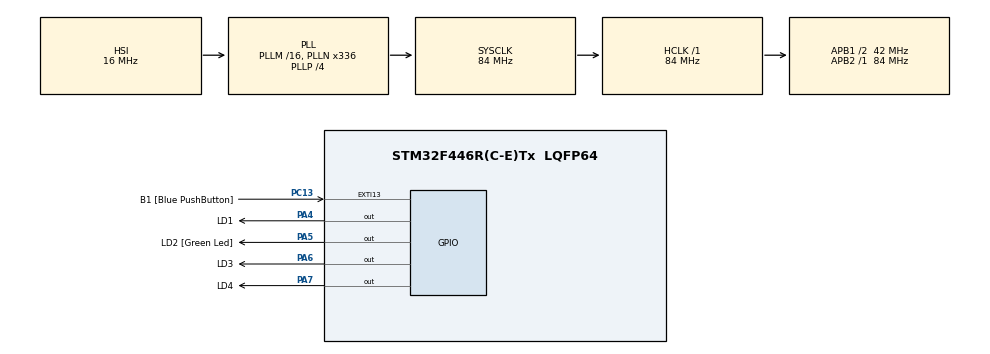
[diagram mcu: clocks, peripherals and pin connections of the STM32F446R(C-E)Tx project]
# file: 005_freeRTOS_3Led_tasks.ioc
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Mcu.Family=STM32F4
Mcu.Name=STM32F446R(C-E)Tx
Mcu.Package=LQFP64
NVIC.PriorityGroup=NVIC_PRIORITYGROUP_4
NVIC.TIM6_DAC_IRQn=true\:0\:0\:false\:false\:true\:false\:true\:true
NVIC.TimeBase=TIM6_DAC_IRQn
NVIC.TimeBaseIP=TIM6
PA13.GPIO_Label=TMS
PA13.Signal=SYS_JTMS-SWDIO
PA14.GPIO_Label=TCK
PA14.Signal=SYS_JTCK-SWCLK
PA2.GPIO_Label=USART_TX
PA2.Signal=USART2_TX
PA3.GPIO_Label=USART_RX
PA3.Signal=USART2_RX
PA4.GPIO_Label=LD1
PA4.Signal=GPIO_Output
PA5.GPIO_Label=LD2 [Green Led]
PA5.Signal=GPIO_Output
PA6.GPIO_Label=LD3
PA6.Signal=GPIO_Output
PA7.GPIO_Label=LD4
PA7.Signal=GPIO_Output
PB3.GPIO_Label=SWO
PB3.Signal=SYS_JTDO-SWO
PC13.GPIO_Label=B1 [Blue PushButton]
PC13.GPIO_ModeDefaultEXTI=GPIO_MODE_IT_FALLING
PC13.Signal=GPXTI13
PC14-OSC32_IN.Signal=RCC_OSC32_IN
PC15-OSC32_OUT.Signal=RCC_OSC32_OUT
PH0-OSC_IN.Signal=RCC_OSC_IN
PH1-OSC_OUT.Signal=RCC_OSC_OUT
ProjectManager.HeapSize=0x200
ProjectManager.StackSize=0x400
ProjectManager.TargetToolchain=STM32CubeIDE
RCC.AHBFreq_Value=84000000
RCC.APB1CLKDivider=RCC_HCLK_DIV2
RCC.APB1Freq_Value=42000000
RCC.APB1TimFreq_Value=84000000
RCC.APB2Freq_Value=84000000
RCC.APB2TimFreq_Value=84000000
RCC.CortexFreq_Value=84000000
RCC.FLatency-AdvancedSettings=FLASH_LATENCY_2
RCC.HCLKFreq_Value=84000000
RCC.HSE_VALUE=8000000
RCC.HSI_VALUE=16000000
RCC.LSE_VALUE=32768
RCC.PLLN=336
RCC.PLLP=RCC_PLLP_DIV4
RCC.SYSCLKFreq_VALUE=84000000
RCC.SYSCLKSource=RCC_SYSCLKSOURCE_PLLCLK
RCC.USBFreq_Value=168000000
RCC.VCOOutputFreq_Value=336000000
VP_SYS_VS_tim6.Mode=TIM6
board=NUCLEO-F446RE

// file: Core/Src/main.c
/* USER CODE BEGIN Header */
/**
  ******************************************************************************
  * @file           : main.c
  * @brief          : Main program body
  ******************************************************************************
  * @attention
  *
  * Copyright (c) 2025 STMicroelectronics.
  * All rights reserved.
  *
  * This software is licensed under terms that can be found in the LICENSE file
  * in the root directory of this software component.
  * If no LICENSE file comes with this software, it is provided AS-IS.
  *
  ******************************************************************************
  */
/* USER CODE END Header */
#include "main.h"

/* USER CODE BEGIN Includes */
#include <stdio.h>
#include "FreeRTOS.h"
#include "task.h"
/* USER CODE END Includes */

void SystemClock_Config(void);
static void MX_GPIO_Init(void);
/* USER CODE BEGIN PFP */
static void led1_task1_handler(void *Parameters);
static void led2_task2_handler(void *Parameters);
static void led3_task3_handler(void *Parameters);
static void button_task4_handler(void *Parameters);

TaskHandle_t led1_task1_handle;
TaskHandle_t led2_task2_handle;
TaskHandle_t led3_task3_handle;
TaskHandle_t button_task4_handle;

TaskHandle_t volatile next_task_handle= NULL;

/* USER CODE END PFP */

int main(void)
{

  /* USER CODE BEGIN 1 */
	BaseType_t status;
  /* USER CODE END 1 */

  /* MCU Configuration--------------------------------------------------------*/

  /* Reset of all peripherals, Initializes the Flash interface and the Systick. */
  HAL_Init();

  /* USER CODE BEGIN Init */
b
  /* USER CODE END Init */

  /* Configure the system clock */
  SystemClock_Config();

  /* Initialize all configured peripherals */
  MX_GPIO_Init();
  /* USER CODE BEGIN 2 */

	printf("\r\n=== SYSTEM STARTING ===\r\n");

	status = xTaskCreate(led1_task1_handler, "Task-1", 200, NULL, 1, &led1_task1_handle);
	configASSERT(status == pdPASS);
	printf("LED1 Task created, handle: %p\r\n", led1_task1_handle);

	next_task_handle = led1_task1_handle;
	printf("next_task_handle initialized to: %p\r\n", next_task_handle);

	status = xTaskCreate(led2_task2_handler, "Task-2", 200, NULL, 2, &led2_task2_handle);
	configASSERT(status == pdPASS);
	printf("LED2 Task created, handle: %p\r\n", led2_task2_handle);

	status = xTaskCreate(led3_task3_handler, "Task-3", 200, NULL, 3, &led3_task3_handle);
	configASSERT(status == pdPASS);
	printf("LED3 Task created, handle: %p\r\n", led3_task3_handle);

	status = xTaskCreate(button_task4_handler, "Button Task-4", 200, NULL, 4, &button_task4_handle);
	configASSERT(status == pdPASS);
	printf("Button Task created, handle: %p\r\n", button_task4_handle);

	printf("All tasks created successfully\r\n");
	printf("Starting FreeRTOS scheduler...\r\n");

	// start FreeRTOS scheduler
	vTaskStartScheduler();
  /* USER CODE END 2 */

  /* Infinite loop */
  while (1)
  {

  }
}

void SystemClock_Config(void)
{
  RCC_OscInitTypeDef RCC_OscInitStruct = {0};
  RCC_ClkInitTypeDef RCC_ClkInitStruct = {0};

  /** Configure the main internal regulator output voltage
  */
  __HAL_RCC_PWR_CLK_ENABLE();
  __HAL_PWR_VOLTAGESCALING_CONFIG(PWR_REGULATOR_VOLTAGE_SCALE3);

  /** Initializes the RCC Oscillators according to the specified parameters
  * in the RCC_OscInitTypeDef structure.
  */
  RCC_OscInitStruct.OscillatorType = RCC_OSCILLATORTYPE_HSI;
  RCC_OscInitStruct.HSIState = RCC_HSI_ON;
  RCC_OscInitStruct.HSICalibrationValue = RCC_HSICALIBRATION_DEFAULT;
  RCC_OscInitStruct.PLL.PLLState = RCC_PLL_ON;
  RCC_OscInitStruct.PLL.PLLSource = RCC_PLLSOURCE_HSI;
  RCC_OscInitStruct.PLL.PLLM = 16;
  RCC_OscInitStruct.PLL.PLLN = 336;
  RCC_OscInitStruct.PLL.PLLP = RCC_PLLP_DIV4;
  RCC_OscInitStruct.PLL.PLLQ = 2;
  RCC_OscInitStruct.PLL.PLLR = 2;
  if (HAL_RCC_OscConfig(&RCC_OscInitStruct) != HAL_OK)
  {
    Error_Handler();
  }

  /** Initializes the CPU, AHB and APB buses clocks
  */
  RCC_ClkInitStruct.ClockType = RCC_CLOCKTYPE_HCLK|RCC_CLOCKTYPE_SYSCLK
                              |RCC_CLOCKTYPE_PCLK1|RCC_CLOCKTYPE_PCLK2;
  RCC_ClkInitStruct.SYSCLKSource = RCC_SYSCLKSOURCE_PLLCLK;
  RCC_ClkInitStruct.AHBCLKDivider = RCC_SYSCLK_DIV1;
  RCC_ClkInitStruct.APB1CLKDivider = RCC_HCLK_DIV2;
  RCC_ClkInitStruct.APB2CLKDivider = RCC_HCLK_DIV1;

  if (HAL_RCC_ClockConfig(&RCC_ClkInitStruct, FLASH_LATENCY_2) != HAL_OK)
  {
    Error_Handler();
  }
}

static void MX_GPIO_Init(void)
{
  GPIO_InitTypeDef GPIO_InitStruct = {0};

  /* GPIO Ports Clock Enable */
  __HAL_RCC_GPIOC_CLK_ENABLE();
  __HAL_RCC_GPIOH_CLK_ENABLE();
  __HAL_RCC_GPIOA_CLK_ENABLE();
  __HAL_RCC_GPIOB_CLK_ENABLE();

  /*Configure GPIO pin Output Level */
  HAL_GPIO_WritePin(GPIOA, LD1_Pin|LD2_Pin|LD3_Pin|LD4_Pin, GPIO_PIN_RESET);

  /*Configure GPIO pin : B1_Pin */
  GPIO_InitStruct.Pin = B1_Pin;
  GPIO_InitStruct.Mode = GPIO_MODE_INPUT;  /* Changed to INPUT for polling */
  GPIO_InitStruct.Pull = GPIO_PULLUP;      /* Added pull-up resistor */
  HAL_GPIO_Init(B1_GPIO_Port, &GPIO_InitStruct);

  /*Configure GPIO pins : USART_TX_Pin USART_RX_Pin */
  GPIO_InitStruct.Pin = USART_TX_Pin|USART_RX_Pin;
  GPIO_InitStruct.Mode = GPIO_MODE_AF_PP;
  GPIO_InitStruct.Pull = GPIO_NOPULL;
  GPIO_InitStruct.Speed = GPIO_SPEED_FREQ_VERY_HIGH;
  GPIO_InitStruct.Alternate = GPIO_AF7_USART2;
  HAL_GPIO_Init(GPIOA, &GPIO_InitStruct);

  /*Configure GPIO pins : LD1_Pin LD2_Pin LD3_Pin LD4_Pin */
  GPIO_InitStruct.Pin = LD1_Pin|LD2_Pin|LD3_Pin|LD4_Pin;
  GPIO_InitStruct.Mode = GPIO_MODE_OUTPUT_PP;
  GPIO_InitStruct.Pull = GPIO_NOPULL;
  GPIO_InitStruct.Speed = GPIO_SPEED_FREQ_LOW;
  HAL_GPIO_Init(GPIOA, &GPIO_InitStruct);

}

/* USER CODE BEGIN 4 */
static void led1_task1_handler(void *Parameters)
{
    BaseType_t status;
    printf("=== LED1 Task Started ===\r\n");

    while(1)
    {
        printf("LED1: Toggling led1 (PA5)\r\n");
        HAL_GPIO_TogglePin(GPIOA, GPIO_PIN_5);

        printf("LED1: Waiting for notification (timeout: 2000ms)...\r\n");
        status = xTaskNotifyWait(0, 0, NULL, pdMS_TO_TICKS(2000));

        if(status == pdTRUE)
        {
            printf("LED1: *** NOTIFICATION RECEIVED! ***\r\n");
            vTaskSuspendAll();
            next_task_handle = led2_task2_handle;
            printf("LED1: next_task_handle changed to LED2: %p\r\n", next_task_handle);
            xTaskResumeAll();
            HAL_GPIO_WritePin(GPIOA, GPIO_PIN_5, GPIO_PIN_RESET);
            printf("LED1: LED turned OFF, deleting task1\r\n");
            vTaskDelete(NULL);
        }
        else
        {
            printf("LED1: Timeout - no notification received\r\n");
        }
    }
}

static void led2_task2_handler(void *Parameters)
{
    BaseType_t status;
    printf("=== LED2 Task Started ===\r\n");

    while(1)
    {
        printf("LED2: Toggling led2 (PA6)\r\n");
        HAL_GPIO_TogglePin(GPIOA, GPIO_PIN_6);

        printf("LED2: Waiting for notification (timeout: 1500ms)...\r\n");
        status = xTaskNotifyWait(0, 0, NULL, pdMS_TO_TICKS(1500));

        if(status == pdTRUE)
        {
            printf("LED2: *** NOTIFICATION RECEIVED! ***\r\n");
            vTaskSuspendAll();
            next_task_handle = led3_task3_handle;
            printf("LED2: next_task_handle changed to LED3: %p\r\n", next_task_handle);
            xTaskResumeAll();
            HAL_GPIO_WritePin(GPIOA, GPIO_PIN_6, GPIO_PIN_RESET);
            printf("LED2: LED turned OFF, deleting task2\r\n");
            vTaskDelete(NULL);
        }
        else
        {
            printf("LED2: Timeout - no notification received\r\n");
        }
    }
}

static void led3_task3_handler(void *Parameters)
{
    BaseType_t status;
    printf("=== LED3 Task Started ===\r\n");

    while(1)
    {
        printf("LED3: Toggling led3 (PA4)\r\n");
        HAL_GPIO_TogglePin(GPIOA, GPIO_PIN_4);

        printf("LED3: Waiting for notification (timeout: 1000ms)...\r\n");
        status = xTaskNotifyWait(0, 0, NULL, pdMS_TO_TICKS(1000));

        if(status == pdTRUE)
        {
            printf("LED3: *** NOTIFICATION RECEIVED! ***\r\n");
            vTaskSuspendAll();
            next_task_handle = NULL;
            printf("LED3: next_task_handle set to NULL\r\n");
            xTaskResumeAll();
            HAL_GPIO_WritePin(GPIOA, GPIO_PIN_4, GPIO_PIN_RESET);
            printf("LED3: LED turned OFF\r\n");
            printf("LED3: Deleting button task (%p)\r\n", button_task4_handle);
            vTaskDelete(button_task4_handle);
            printf("LED3: Deleting LED3 task (self)\r\n");
            vTaskDelete(NULL);
        }
        else
        {
            printf("LED3: Timeout - no notification received\r\n");
        }
    }
}

static void button_task4_handler(void *Parameters)
{
    uint8_t btn_read = 0;
    uint8_t prev_read = 0;
    static uint32_t button_press_count = 0;
    static uint32_t debug_counter = 0;

    printf("=== BUTTON Task Started ===\r\n");
    printf("BUTTON: Current next_task_handle: %p\r\n", next_task_handle);

    // Print pin definitions for debugging
    printf("BUTTON: B1_Pin = 0x%04X, B1_GPIO_Port = %p\r\n", (uint16_t)B1_Pin, B1_GPIO_Port);

    // Initialize previous state - USING CORRECT PIN!
    prev_read = HAL_GPIO_ReadPin(B1_GPIO_Port, B1_Pin);
    printf("BUTTON: Initial button state (B1_Pin): %d\r\n", prev_read);

    // Also check PA0 for comparison
    uint8_t pa0_state = HAL_GPIO_ReadPin(GPIOA, GPIO_PIN_0);
    printf("BUTTON: Initial PA0 state: %d\r\n", pa0_state);

    while(1)
    {
        // Read the CORRECT button pin - B1_Pin, not GPIO_PIN_0!
        btn_read = HAL_GPIO_ReadPin(B1_GPIO_Port, B1_Pin);

        debug_counter++;

        // Print button state every 100 cycles for debugging
        if(debug_counter % 100 == 0)
        {
            printf("BUTTON: Debug #%lu - B1_Pin: %d, PA0: %d, next_task: %p\r\n",
                   debug_counter/100, btn_read, HAL_GPIO_ReadPin(GPIOA, GPIO_PIN_0), next_task_handle);
        }

        // Print any button state changes immediately
        if(btn_read != prev_read)
        {
            printf("BUTTON: *** STATE CHANGE #%lu *** %d -> %d\r\n", ++button_press_count, prev_read, btn_read);
        }

        // For STM32 Nucleo, button is typically:
        // - HIGH when not pressed (with pull-up)
        // - LOW when pressed
        // So we detect HIGH to LOW (falling edge) for button press

        if(!btn_read && prev_read)  // Falling edge: button pressed
        {
            printf("BUTTON: *** BUTTON PRESSED *** (Falling Edge Detection)\r\n");

            // Debounce delay
            vTaskDelay(pdMS_TO_TICKS(50));

            // Re-read to confirm
            btn_read = HAL_GPIO_ReadPin(B1_GPIO_Port, B1_Pin);
            printf("BUTTON: After debounce, button state: %d\r\n", btn_read);

            if(!btn_read) // Still pressed after debounce
            {
                printf("BUTTON: Button press confirmed, current next_task_handle: %p\r\n", next_task_handle);

                if(next_task_handle != NULL)
                {
                    printf("BUTTON: Sending notification to task %p\r\n", next_task_handle);
                    BaseType_t notify_result = xTaskNotify(next_task_handle, 0, eNoAction);

                    if(notify_result == pdPASS)
                    {
                        printf("BUTTON: *** NOTIFICATION SENT SUCCESSFULLY ***\r\n");
                    }
                    else
                    {
                        printf("BUTTON: *** NOTIFICATION FAILED ***\r\n");
                    }
                }
                else
                {
                    printf("BUTTON: next_task_handle is NULL - no task to notify\r\n");
                }

                // Wait for button release
                printf("BUTTON: Waiting for button release...\r\n");
                while(!HAL_GPIO_ReadPin(B1_GPIO_Port, B1_Pin))
                {
                    vTaskDelay(pdMS_TO_TICKS(10));
                }
                printf("BUTTON: Button released\r\n");
            }
        }

        prev_read = btn_read;
        vTaskDelay(pdMS_TO_TICKS(10));
    }
}

/* USER CODE END 4 */

void HAL_TIM_PeriodElapsedCallback(TIM_HandleTypeDef *htim)
{
  if (htim->Instance == TIM6)
  {
    HAL_IncTick();
  }
}

void Error_Handler(void)
{
  __disable_irq();
  while (1)
  {
  }
}
